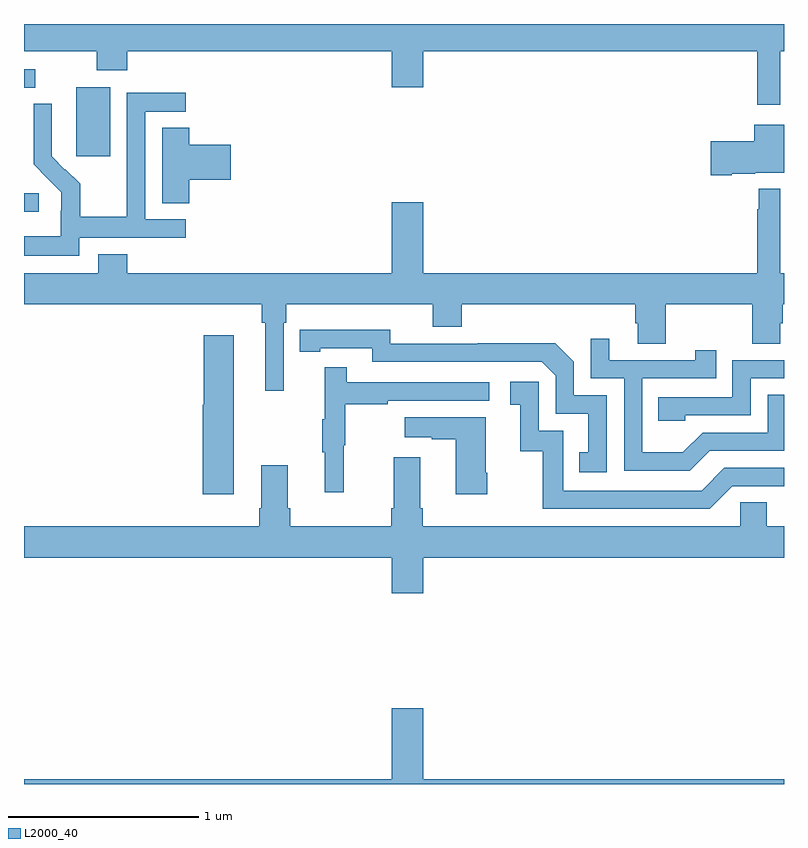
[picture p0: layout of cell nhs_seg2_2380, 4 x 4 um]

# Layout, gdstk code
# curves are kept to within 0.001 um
import gdstk
lib = gdstk.Library(unit=1e-6, precision=1e-09)
def R(c, l, rs):  # rectangles x0, y0, x1, y1
    for r in rs: c.add(gdstk.rectangle(r[:2], r[2:], *l))
def P(c, l, *ps):  # polygons
    for p in ps: c.add(gdstk.Polygon(p, *l))
L2000_40 = (2000, 40)

nhs_seg2_2380 = lib.new_cell('nhs_seg2_2380')
R(nhs_seg2_2380, L2000_40, [(235,626.813,235.078,626.91), (235.274,627.105,235.453,627.466), (235,627.465,235.06,627.561)])
P(nhs_seg2_2380, L2000_40, [(238.981,627.656),(239,627.656),(239,627.8),(235,627.8),(235,627.656),(235.384,627.656),(235.384,627.557),(235.544,627.557),(235.544,627.656),(236.936,627.656),(236.936,627.468),(237.1,627.468),(237.1,627.656),(238.86,627.656),(238.86,627.375),(238.981,627.375)],
  [(235.29,626.676),(235.852,626.676),(235.852,626.772),(235.638,626.772),(235.638,627.339),(235.852,627.339),(235.852,627.438),(235.542,627.438),(235.542,627.008),(235.54,627.008),(235.54,626.785),(235.295,626.785),(235.295,626.959),(235.218,627.036),(235.215,627.033),(235.145,627.104),(235.146,627.38),(235.05,627.38),(235.05,627.062),(235.196,626.914),(235.196,626.817),(235.194,626.817),(235.194,626.683),(235,626.683),(235,626.579),(235.29,626.579)],
  [(238.726,627.011),(238.848,627.011),(238.848,627.017),(239,627.017),(239,627.271),(238.844,627.271),(238.844,627.183),(238.614,627.183),(238.614,627.005),(238.726,627.005)],
  [(235.871,626.981),(236.089,626.981),(236.089,627.164),(235.871,627.164),(235.871,627.254),(235.727,627.254),(235.727,626.857),(235.871,626.857)],
  [(236.367,626.228),(236.381,626.228),(236.381,626.324),(237.152,626.324),(237.152,626.207),(237.305,626.207),(237.305,626.324),(238.217,626.324),(238.217,626.226),(238.229,626.226),(238.229,626.116),(238.377,626.116),(238.377,626.324),(238.834,626.324),(238.834,626.116),(238.981,626.116),(238.981,626.226),(238.994,626.226),(238.994,626.324),(239,626.324),(239,626.488),(238.981,626.488),(238.981,626.932),(238.867,626.932),(238.867,626.825),(238.86,626.825),(238.86,626.488),(237.1,626.488),(237.1,626.863),(236.936,626.863),(236.936,626.488),(235.544,626.488),(235.544,626.587),(235.391,626.587),(235.391,626.488),(235,626.488),(235,626.324),(236.251,626.324),(236.251,626.228),(236.27,626.228),(236.27,625.869),(236.367,625.869)],
  [(238.068,625.845),(237.894,625.845),(237.894,626.022),(237.796,626.12),(237.388,626.12),(237.388,626.118),(236.928,626.118),(236.928,626.191),(236.452,626.19),(236.452,626.074),(236.56,626.074),(236.56,626.094),(236.832,626.094),(236.832,626.022),(237.726,626.022),(237.798,625.95),(237.798,625.749),(237.971,625.749),(237.971,625.545),(237.922,625.545),(237.922,625.44),(238.068,625.44)],
  [(236.104,626.161),(235.946,626.161),(235.946,625.797),(235.94,625.797),(235.94,625.326),(236.104,625.326)],
  [(238.609,625.554),(239,625.554),(239,625.849),(238.914,625.849),(238.914,625.65),(238.572,625.65),(238.468,625.546),(238.254,625.546),(238.254,625.935),(238.643,625.935),(238.643,626.083),(238.532,626.083),(238.532,626.031),(238.081,626.031),(238.081,626.143),(237.984,626.143),(237.984,625.935),(238.158,625.935),(238.158,625.449),(238.504,625.449)],
  [(238.479,625.74),(238.824,625.74),(238.824,625.935),(239,625.935),(239,626.031),(238.728,626.031),(238.728,625.836),(238.339,625.836),(238.339,625.713),(238.479,625.713)],
  [(236.684,625.584),(236.692,625.584),(236.692,625.798),(236.915,625.798),(236.915,625.818),(237.448,625.818),(237.448,625.914),(236.699,625.914),(236.699,625.993),(236.582,625.993),(236.582,625.721),(236.571,625.721),(236.571,625.547),(236.582,625.547),(236.582,625.335),(236.684,625.335)],
  [(238.728,625.368),(239,625.368),(239,625.464),(238.686,625.464),(238.566,625.344),(237.837,625.344),(237.837,625.659),(237.708,625.659),(237.708,625.918),(237.558,625.918),(237.558,625.797),(237.611,625.797),(237.611,625.551),(237.729,625.551),(237.729,625.248),(238.608,625.248)],
  [(237.438,625.438),(237.43,625.438),(237.43,625.729),(237.003,625.729),(237.003,625.625),(237.146,625.625),(237.146,625.615),(237.272,625.615),(237.272,625.326),(237.438,625.326)],
  [(237.1,624.992),(239,624.992),(239,625.156),(238.909,625.156),(238.909,625.283),(238.77,625.283),(238.77,625.156),(237.098,625.156),(237.098,625.252),(237.085,625.252),(237.085,625.519),(236.945,625.519),(236.945,625.252),(236.933,625.252),(236.933,625.156),(236.402,625.156),(236.402,625.252),(236.389,625.252),(236.389,625.477),(236.249,625.477),(236.249,625.252),(236.237,625.252),(236.237,625.156),(235,625.156),(235,624.992),(236.936,624.992),(236.936,624.804),(237.1,624.804)],
  [(235,623.8),(239,623.8),(239,623.824),(237.1,623.824),(237.1,624.199),(236.936,624.199),(236.936,623.824),(235,623.824)])

lib.write_gds('nhs_seg2_2380.gds')
